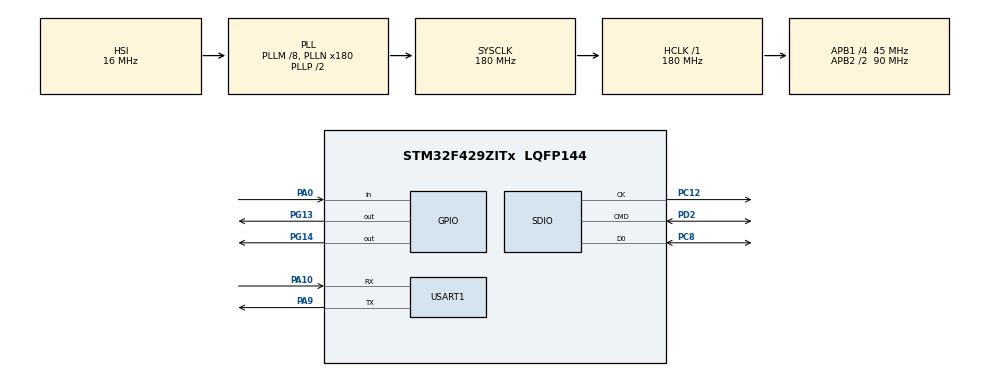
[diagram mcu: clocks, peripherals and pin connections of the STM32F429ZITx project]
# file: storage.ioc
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FATFS.USE_DMA_CODE_SD=0
Mcu.Family=STM32F4
Mcu.Name=STM32F429ZITx
Mcu.Package=LQFP144
NVIC.PriorityGroup=NVIC_PRIORITYGROUP_0
PA0/WKUP.GPIO_PuPd=GPIO_PULLUP
PA0/WKUP.Signal=GPIO_Input
PA10.Mode=Asynchronous
PA10.Signal=USART1_RX
PA9.Mode=Asynchronous
PA9.Signal=USART1_TX
PC12.GPIO_PuPd=GPIO_PULLUP
PC12.Mode=SD_1_bit
PC12.Signal=SDIO_CK
PC8.GPIO_PuPd=GPIO_PULLUP
PC8.Mode=SD_1_bit
PC8.Signal=SDIO_D0
PD2.GPIO_PuPd=GPIO_PULLUP
PD2.Mode=SD_1_bit
PD2.Signal=SDIO_CMD
PG13.Signal=GPIO_Output
PG14.Signal=GPIO_Output
ProjectManager.HeapSize=0x200
ProjectManager.StackSize=0x400
ProjectManager.TargetToolchain=MDK-ARM V5
RCC.48MHZClocksFreq_Value=45000000
RCC.AHBFreq_Value=180000000
RCC.APB1CLKDivider=RCC_HCLK_DIV4
RCC.APB1Freq_Value=45000000
RCC.APB1TimFreq_Value=90000000
RCC.APB2CLKDivider=RCC_HCLK_DIV2
RCC.APB2Freq_Value=90000000
RCC.APB2TimFreq_Value=180000000
RCC.CortexFreq_Value=180000000
RCC.HCLKFreq_Value=180000000
RCC.HSE_VALUE=8000000
RCC.HSI_VALUE=16000000
RCC.LSE_VALUE=32768
RCC.PLLM=8
RCC.PLLN=180
RCC.PLLQ=8
RCC.SYSCLKFreq_VALUE=180000000
RCC.SYSCLKSource=RCC_SYSCLKSOURCE_PLLCLK
RCC.VCOOutputFreq_Value=360000000
SDIO.ClockEdge=SDIO_CLOCK_EDGE_RISING
USART1.VirtualMode=VM_ASYNC
VP_FATFS_VS_SDIO.Mode=SDIO
board=STM32F429I-DISC1

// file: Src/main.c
/**
  ******************************************************************************
  * File Name          : main.c
  * Description        : Main program body
  ******************************************************************************
  * This notice applies to any and all portions of this file
  * that are not between comment pairs USER CODE BEGIN and
  * USER CODE END. Other portions of this file, whether
  * inserted by the user or by software development tools
  * are owned by their respective copyright owners.
  *
  * Copyright (c) 2017 STMicroelectronics International N.V.
  * All rights reserved.
  *
  * Redistribution and use in source and binary forms, with or without
  * modification, are permitted, provided that the following conditions are met:
  *
  * 1. Redistribution of source code must retain the above copyright notice,
  *    this list of conditions and the following disclaimer.
  * 2. Redistributions in binary form must reproduce the above copyright notice,
  *    this list of conditions and the following disclaimer in the documentation
  *    and/or other materials provided with the distribution.
  * 3. Neither the name of STMicroelectronics nor the names of other
  *    contributors to this software may be used to endorse or promote products
  *    derived from this software without specific written permission.
  * 4. This software, including modifications and/or derivative works of this
  *    software, must execute solely and exclusively on microcontroller or
  *    microprocessor devices manufactured by or for STMicroelectronics.
  * 5. Redistribution and use of this software other than as permitted under
  *    this license is void and will automatically terminate your rights under
  *    this license.
  *
  * THIS SOFTWARE IS PROVIDED BY STMICROELECTRONICS AND CONTRIBUTORS "AS IS"
  * AND ANY EXPRESS, IMPLIED OR STATUTORY WARRANTIES, INCLUDING, BUT NOT
  * LIMITED TO, THE IMPLIED WARRANTIES OF MERCHANTABILITY, FITNESS FOR A
  * PARTICULAR PURPOSE AND NON-INFRINGEMENT OF THIRD PARTY INTELLECTUAL PROPERTY
  * RIGHTS ARE DISCLAIMED TO THE FULLEST EXTENT PERMITTED BY LAW. IN NO EVENT
  * SHALL STMICROELECTRONICS OR CONTRIBUTORS BE LIABLE FOR ANY DIRECT, INDIRECT,
  * INCIDENTAL, SPECIAL, EXEMPLARY, OR CONSEQUENTIAL DAMAGES (INCLUDING, BUT NOT
  * LIMITED TO, PROCUREMENT OF SUBSTITUTE GOODS OR SERVICES; LOSS OF USE, DATA,
  * OR PROFITS; OR BUSINESS INTERRUPTION) HOWEVER CAUSED AND ON ANY THEORY OF
  * LIABILITY, WHETHER IN CONTRACT, STRICT LIABILITY, OR TORT (INCLUDING
  * NEGLIGENCE OR OTHERWISE) ARISING IN ANY WAY OUT OF THE USE OF THIS SOFTWARE,
  * EVEN IF ADVISED OF THE POSSIBILITY OF SUCH DAMAGE.
  *
  ******************************************************************************
  */

#include "main.h"
#include "stm32f4xx_hal.h"
#include "fatfs.h"

/* USER CODE BEGIN Includes */
#include "command.h"
#include "flash_if.h"
#include <string.h>
/* USER CODE END Includes */

SD_HandleTypeDef hsd;

UART_HandleTypeDef huart1;

/* USER CODE BEGIN PV */
HAL_SD_CardInfoTypeDef SDCardInfo;
/* Private variables ---------------------------------------------------------*/
#define RX_TIMEOUT          ((uint32_t)0xFFFFFFFF)
uint32_t  volatile  FlashProtection = 0;
pFunction   JumpToApplication;
uint32_t    JumpAddress;
FRESULT res;
const char DownloadFile[] = "binary.bin";
/* USER CODE END PV */

void SystemClock_Config(void);
static void MX_GPIO_Init(void);
static void MX_SDIO_SD_Init(void);
static void MX_USART1_UART_Init(void);

/* USER CODE BEGIN PFP */
/* Private function prototypes -----------------------------------------------*/
//static void RunApplication(void);
static void Main_Menu(void);
/* USER CODE END PFP */

/* USER CODE BEGIN 0 */
char tx[100];
uint8_t key;
/* USER CODE END 0 */

int main(void)
{

  /* MCU Configuration----------------------------------------------------------*/

  /* Reset of all peripherals, Initializes the Flash interface and the Systick. */
  HAL_Init();

  /* Configure the system clock */
  SystemClock_Config();

  /* Initialize all configured peripherals */
  MX_GPIO_Init();
  MX_SDIO_SD_Init();
  MX_FATFS_Init();
  MX_USART1_UART_Init();

  /* USER CODE BEGIN 2 */
  res = f_mount(&SDFatFS, SDPath,1);
  if(res==FR_OK)
  {HAL_UART_Transmit(&huart1,(uint8_t *)"SD CARD Mounted\r\n",17,20);}
  HAL_Delay(2000);
  if(HAL_GPIO_ReadPin(GPIOA,GPIO_PIN_0)==GPIO_PIN_SET)
  {
	  HAL_GPIO_TogglePin(GPIOG,GPIO_PIN_14);
	  Main_Menu();
  }
  else
  {
    /* Test if user code is programmed starting from address "APPLICATION_ADDRESS" */
    if (((*(__IO uint32_t*)APPLICATION_ADDRESS) & 0x2FFE0000 ) == 0x20000000)
    {
      /* Jump to user application */
      JumpAddress = *(__IO uint32_t*) (APPLICATION_ADDRESS + 4);
      JumpToApplication = (pFunction) JumpAddress;
#if   (defined ( __GNUC__ ))
    /* Compensation as the Stack Pointer is placed at the very end of RAM */
    __set_MSP((*(__IO uint32_t*) APPLICATION_ADDRESS) - 64);
#else  /* (defined  (__GNUC__ )) */
    __set_MSP(*(__IO uint32_t*) APPLICATION_ADDRESS);
#endif /* (defined  (__GNUC__ )) */
      JumpToApplication();
    }
  }
  /* USER CODE END 2 */

  /* Infinite loop */
  while (1)
  {

  }

}

/** System Clock Configuration
*/
void SystemClock_Config(void)
{

  RCC_OscInitTypeDef RCC_OscInitStruct;
  RCC_ClkInitTypeDef RCC_ClkInitStruct;

    /**Configure the main internal regulator output voltage
    */
  __HAL_RCC_PWR_CLK_ENABLE();

  __HAL_PWR_VOLTAGESCALING_CONFIG(PWR_REGULATOR_VOLTAGE_SCALE1);

    /**Initializes the CPU, AHB and APB busses clocks
    */
  RCC_OscInitStruct.OscillatorType = RCC_OSCILLATORTYPE_HSI;
  RCC_OscInitStruct.HSIState = RCC_HSI_ON;
  RCC_OscInitStruct.HSICalibrationValue = 16;
  RCC_OscInitStruct.PLL.PLLState = RCC_PLL_ON;
  RCC_OscInitStruct.PLL.PLLSource = RCC_PLLSOURCE_HSI;
  RCC_OscInitStruct.PLL.PLLM = 8;
  RCC_OscInitStruct.PLL.PLLN = 180;
  RCC_OscInitStruct.PLL.PLLP = RCC_PLLP_DIV2;
  RCC_OscInitStruct.PLL.PLLQ = 8;
  if (HAL_RCC_OscConfig(&RCC_OscInitStruct) != HAL_OK)
  {
    _Error_Handler(__FILE__, __LINE__);
  }

    /**Activate the Over-Drive mode
    */
  if (HAL_PWREx_EnableOverDrive() != HAL_OK)
  {
    _Error_Handler(__FILE__, __LINE__);
  }

    /**Initializes the CPU, AHB and APB busses clocks
    */
  RCC_ClkInitStruct.ClockType = RCC_CLOCKTYPE_HCLK|RCC_CLOCKTYPE_SYSCLK
                              |RCC_CLOCKTYPE_PCLK1|RCC_CLOCKTYPE_PCLK2;
  RCC_ClkInitStruct.SYSCLKSource = RCC_SYSCLKSOURCE_PLLCLK;
  RCC_ClkInitStruct.AHBCLKDivider = RCC_SYSCLK_DIV1;
  RCC_ClkInitStruct.APB1CLKDivider = RCC_HCLK_DIV4;
  RCC_ClkInitStruct.APB2CLKDivider = RCC_HCLK_DIV2;

  if (HAL_RCC_ClockConfig(&RCC_ClkInitStruct, FLASH_LATENCY_5) != HAL_OK)
  {
    _Error_Handler(__FILE__, __LINE__);
  }

    /**Configure the Systick interrupt time
    */
  HAL_SYSTICK_Config(HAL_RCC_GetHCLKFreq()/1000);

    /**Configure the Systick
    */
  HAL_SYSTICK_CLKSourceConfig(SYSTICK_CLKSOURCE_HCLK);

  /* SysTick_IRQn interrupt configuration */
  HAL_NVIC_SetPriority(SysTick_IRQn, 0, 0);
}

/* SDIO init function */
static void MX_SDIO_SD_Init(void)
{

  hsd.Instance = SDIO;
  hsd.Init.ClockEdge = SDIO_CLOCK_EDGE_RISING;
  hsd.Init.ClockBypass = SDIO_CLOCK_BYPASS_DISABLE;
  hsd.Init.ClockPowerSave = SDIO_CLOCK_POWER_SAVE_DISABLE;
  hsd.Init.BusWide = SDIO_BUS_WIDE_1B;
  hsd.Init.HardwareFlowControl = SDIO_HARDWARE_FLOW_CONTROL_DISABLE;
  hsd.Init.ClockDiv = 0;

}

/* USART1 init function */
static void MX_USART1_UART_Init(void)
{

  huart1.Instance = USART1;
  huart1.Init.BaudRate = 115200;
  huart1.Init.WordLength = UART_WORDLENGTH_8B;
  huart1.Init.StopBits = UART_STOPBITS_1;
  huart1.Init.Parity = UART_PARITY_NONE;
  huart1.Init.Mode = UART_MODE_TX_RX;
  huart1.Init.HwFlowCtl = UART_HWCONTROL_NONE;
  huart1.Init.OverSampling = UART_OVERSAMPLING_16;
  if (HAL_UART_Init(&huart1) != HAL_OK)
  {
    _Error_Handler(__FILE__, __LINE__);
  }

}

/** Configure pins as
        * Analog
        * Input
        * Output
        * EVENT_OUT
        * EXTI
*/
static void MX_GPIO_Init(void)
{

  GPIO_InitTypeDef GPIO_InitStruct;

  /* GPIO Ports Clock Enable */
  __HAL_RCC_GPIOA_CLK_ENABLE();
  __HAL_RCC_GPIOC_CLK_ENABLE();
  __HAL_RCC_GPIOD_CLK_ENABLE();
  __HAL_RCC_GPIOG_CLK_ENABLE();

  /*Configure GPIO pin Output Level */
  HAL_GPIO_WritePin(GPIOG, GPIO_PIN_13|GPIO_PIN_14, GPIO_PIN_RESET);
  HAL_GPIO_WritePin(GPIOA, GPIO_PIN_0, GPIO_PIN_RESET);
  /*Configure GPIO pin : PA0 */
  GPIO_InitStruct.Pin = GPIO_PIN_0;
  GPIO_InitStruct.Mode = GPIO_MODE_INPUT;
  GPIO_InitStruct.Pull = GPIO_NOPULL;
	GPIO_InitStruct.Speed = GPIO_SPEED_FREQ_LOW;
  HAL_GPIO_Init(GPIOA, &GPIO_InitStruct);

  /*Configure GPIO pins : PG13 PG14 */
  GPIO_InitStruct.Pin = GPIO_PIN_13|GPIO_PIN_14;
  GPIO_InitStruct.Mode = GPIO_MODE_OUTPUT_PP;
  GPIO_InitStruct.Pull = GPIO_NOPULL;
  GPIO_InitStruct.Speed = GPIO_SPEED_FREQ_LOW;
  HAL_GPIO_Init(GPIOG, &GPIO_InitStruct);

}

/* USER CODE BEGIN 4 */
/**
  * @brief  Display the Main Menu on Display
  * @param  None
  * @retval None
  */
void Main_Menu(void)
{
  while (1)
  {
	sprintf(tx,"\r\n=================== Main Menu ============================\r\n\n");
    HAL_UART_Transmit(&huart1,(uint8_t *)&tx,strlen(tx),30);
    memset(tx,'\0',sizeof(tx));
    sprintf(tx,"  Download image to the internal Flash ----------------- 0\r\n\n");
    HAL_UART_Transmit(&huart1,(uint8_t *)&tx,strlen(tx),30);
    memset(tx,'\0',sizeof(tx));
    sprintf(tx,"  Execute the loaded application ----------------------- 1\r\n\n");
    HAL_UART_Transmit(&huart1,(uint8_t *)&tx,strlen(tx),30);
    memset(tx,'\0',sizeof(tx));
    /* Test if any sector of Flash memory where user application will be loaded is write protected */
    FlashProtection = FLASH_If_GetWriteProtectionStatus();

    if ((FlashProtection & FLASHIF_PROTECTION_WRPENABLED) != 0)
    {
        sprintf(tx,"  Disable the write protection ------------------------- 2\r\n\n");
        HAL_UART_Transmit(&huart1,(uint8_t *)&tx,strlen(tx),50);
        memset(tx,'\0',sizeof(tx));
    }
    else
    {
        sprintf(tx,"  Enable the write protection ------------------------- 2\r\n\n");
        HAL_UART_Transmit(&huart1,(uint8_t *)&tx,strlen(tx),50);
        memset(tx,'\0',sizeof(tx));
    }
    HAL_UART_Receive(&huart1, &key, 1, RX_TIMEOUT);
    switch (key)
    {
    case '0' :
      if (f_open(&MyFile, DownloadFile, FA_READ) != FR_OK)
      {
        sprintf(tx,"  Open file error \r\n\n");
        HAL_UART_Transmit(&huart1,(uint8_t *)&tx,strlen(tx),50);
        memset(tx,'\0',sizeof(tx));
      }
      else
      {
        sprintf(tx,"  Download ongoing\r\n\n");
        HAL_UART_Transmit(&huart1,(uint8_t *)&tx,strlen(tx),50);
        memset(tx,'\0',sizeof(tx));
        if (COMMAND_DOWNLOAD() != DOWNLOAD_OK)
        {
          sprintf(tx," Flash download error\r\n\n");
          HAL_UART_Transmit(&huart1,(uint8_t *)&tx,strlen(tx),50);
          memset(tx,'\0',sizeof(tx));
        }
        else
        {
					  HAL_GPIO_TogglePin(GPIOG,GPIO_PIN_13);
            sprintf(tx," Download done\r\n\n");
            HAL_UART_Transmit(&huart1,(uint8_t *)&tx,strlen(tx),50);
            memset(tx,'\0',sizeof(tx));
        }
     }
      break;
    case '1' :
      sprintf(tx," Executing Program\r\n\n");
      HAL_UART_Transmit(&huart1,(uint8_t *)&tx,strlen(tx),50);
      memset(tx,'\0',sizeof(tx));
      /* Jump to user application */
      JumpAddress = *(__IO uint32_t*) (APPLICATION_ADDRESS + 4);
      JumpToApplication = (pFunction) JumpAddress;
#if   (defined ( __GNUC__ ))
    /* Compensation as the Stack Pointer is placed at the very end of RAM */
    __set_MSP((*(__IO uint32_t*) APPLICATION_ADDRESS) - 64);
#else  /* (defined  (__GNUC__ )) */
    __set_MSP(*(__IO uint32_t*) APPLICATION_ADDRESS);
#endif /* (defined  (__GNUC__ )) */
      JumpToApplication();
      break;

    case '2' :
        sprintf(tx," Enable/Disable Flash Protection\r\n\n");
        HAL_UART_Transmit(&huart1,(uint8_t *)&tx,strlen(tx),50);
        memset(tx,'\0',sizeof(tx));
        if (FlashProtection != FLASHIF_PROTECTION_NONE)
        {
          /* Disable the write protection */
          if (FLASH_If_WriteProtectionConfig(OB_WRPSTATE_DISABLE) == HAL_OK)
          {
            sprintf(tx," Write Protection disabled...\r\n\n");
            HAL_UART_Transmit(&huart1,(uint8_t *)&tx,strlen(tx),50);
            memset(tx,'\0',sizeof(tx));
            /* Launch the option byte loading */
            HAL_FLASH_OB_Launch();
            /* Ulock the flash */
            HAL_FLASH_Unlock();
          }
          else
          {
            sprintf(tx," Error: Flash write un-protection failed...\r\n\n");
            HAL_UART_Transmit(&huart1,(uint8_t *)&tx,strlen(tx),50);
            memset(tx,'\0',sizeof(tx));
          }
        }
        else
        {
          if (FLASH_If_WriteProtectionConfig(OB_WRPSTATE_ENABLE) == HAL_OK)
          {
            sprintf(tx," Write Protection enabled...\r\n\n");
            HAL_UART_Transmit(&huart1,(uint8_t *)&tx,strlen(tx),50);
            memset(tx,'\0',sizeof(tx));
            /* Launch the option byte loading */
            HAL_FLASH_OB_Launch();
          }
          else
          {
              sprintf(tx," Error: Flash write protection failed...\r\n\n");
              HAL_UART_Transmit(&huart1,(uint8_t *)&tx,strlen(tx),50);
              memset(tx,'\0',sizeof(tx));
          }
        }
        break;
      }
	}
}

/* USER CODE END 4 */

void _Error_Handler(char * file, int line)
{
  while(1)
  {
  }
}

/************************ (C) COPYRIGHT STMicroelectronics *****END OF FILE****/
